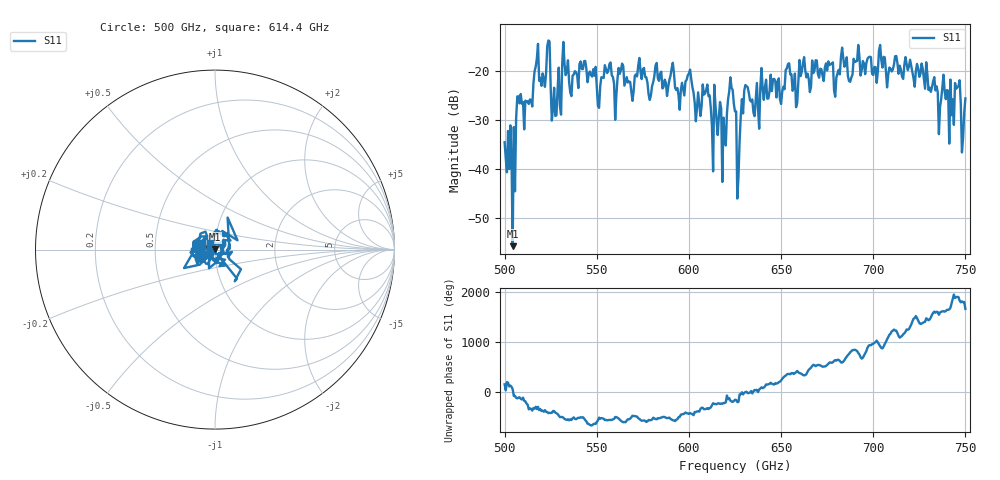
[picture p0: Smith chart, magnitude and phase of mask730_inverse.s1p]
!Created with skrf (http://scikit-rf.org).
# GHz S MA R 50.0
!freq magS11 angS11
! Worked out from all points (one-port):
!   401 points, 500 GHz to 750 GHz, reference 50 ohm
!   lowest |S11| = -55.9 dB at 504.4 GHz (marker M1), VSWR 1.00, Z = 50.1 + j0.14 ohm
!   |S11| at or under -10 dB: start of sweep to end of sweep
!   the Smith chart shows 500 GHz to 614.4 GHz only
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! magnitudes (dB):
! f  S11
! 500 GHz  -34.5
! 504.4 GHz  -55.9
! 507.5 GHz  -25.1
! 513.8 GHz  -25.7
! 516.9 GHz  -19.0
! 520.6 GHz  -20.4
! 523.8 GHz  -13.6
! 526.9 GHz  -23.3
! 531.2 GHz  -18.5
! 556.2 GHz  -19.9
! 560 GHz  -29.9
! 562.5 GHz  -20.5
! 578.8 GHz  -25.8
! 590.6 GHz  -19.4
! 593.8 GHz  -23.4
! 608.8 GHz  -24.5
! 619.4 GHz  -33.2
! 622.5 GHz  -21.2
! 625 GHz  -28.2
! 626.9 GHz  -41.7
! 631.2 GHz  -23.0
! 636.9 GHz  -22.4
! 656.2 GHz  -24.0
! 680 GHz  -21.2
! 683.8 GHz  -17.3
! 687.5 GHz  -22.1
! 718.8 GHz  -19.7
! 750 GHz  -25.5
